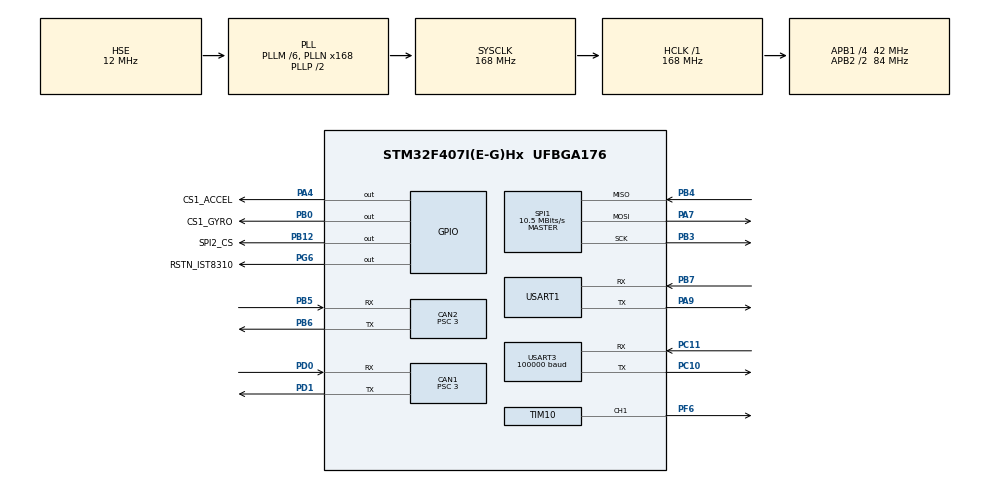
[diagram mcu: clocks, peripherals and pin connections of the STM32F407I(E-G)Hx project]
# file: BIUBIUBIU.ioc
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CAN1.BS1=CAN_BS1_11TQ
CAN1.BS2=CAN_BS2_2TQ
CAN1.CalculateBaudRate=1000000
CAN1.CalculateTimeBit=1000
CAN1.CalculateTimeQuantum=71.42857142857143
CAN1.Prescaler=3
CAN2.BS1=CAN_BS1_11TQ
CAN2.BS2=CAN_BS2_2TQ
CAN2.CalculateBaudRate=1000000
CAN2.CalculateTimeBit=1000
CAN2.CalculateTimeQuantum=71.42857142857143
CAN2.Prescaler=3
Dma.Request0=USART1_RX
Dma.Request1=USART3_RX
Dma.USART1_RX.0.Direction=DMA_PERIPH_TO_MEMORY
Dma.USART1_RX.0.FIFOMode=DMA_FIFOMODE_DISABLE
Dma.USART1_RX.0.Instance=DMA2_Stream5
Dma.USART1_RX.0.MemDataAlignment=DMA_MDATAALIGN_BYTE
Dma.USART1_RX.0.MemInc=DMA_MINC_ENABLE
Dma.USART1_RX.0.Mode=DMA_NORMAL
Dma.USART1_RX.0.PeriphDataAlignment=DMA_PDATAALIGN_BYTE
Dma.USART1_RX.0.PeriphInc=DMA_PINC_DISABLE
Dma.USART1_RX.0.Priority=DMA_PRIORITY_HIGH
Dma.USART3_RX.1.Direction=DMA_PERIPH_TO_MEMORY
Dma.USART3_RX.1.FIFOMode=DMA_FIFOMODE_DISABLE
Dma.USART3_RX.1.Instance=DMA1_Stream1
Dma.USART3_RX.1.MemDataAlignment=DMA_MDATAALIGN_BYTE
Dma.USART3_RX.1.MemInc=DMA_MINC_ENABLE
Dma.USART3_RX.1.Mode=DMA_NORMAL
Dma.USART3_RX.1.PeriphDataAlignment=DMA_PDATAALIGN_BYTE
Dma.USART3_RX.1.PeriphInc=DMA_PINC_DISABLE
Dma.USART3_RX.1.Priority=DMA_PRIORITY_LOW
FREERTOS.Tasks01=defaultTask,24,128,StartDefaultTask,Default,NULL,Dynamic,NULL,NULL;Chassis_Task,40,128,StartTask02,As weak,NULL,Dynamic,NULL,NULL;CAN_Rx_Task,32,128,StartTask03,As weak,NULL,Dynamic,NULL,NULL;Init_Task,8,128,StartTask04,As weak,NULL,Dynamic,NULL,NULL
Mcu.Family=STM32F4
Mcu.Name=STM32F407I(E-G)Hx
Mcu.Package=UFBGA176
NVIC.CAN1_RX0_IRQn=true\:5\:0\:false\:false\:true\:true\:true\:true\:true
NVIC.CAN2_RX0_IRQn=true\:5\:0\:false\:false\:true\:true\:true\:true\:true
NVIC.DMA1_Stream1_IRQn=true\:5\:0\:false\:false\:true\:true\:false\:true\:true
NVIC.DMA2_Stream5_IRQn=true\:5\:0\:false\:false\:true\:true\:false\:true\:true
NVIC.PriorityGroup=NVIC_PRIORITYGROUP_4
NVIC.TIM2_IRQn=true\:15\:0\:false\:false\:true\:false\:false\:true\:true
NVIC.TIM6_DAC_IRQn=true\:5\:0\:false\:false\:true\:true\:true\:true\:true
NVIC.TimeBase=TIM2_IRQn
NVIC.TimeBaseIP=TIM2
NVIC.USART1_IRQn=true\:5\:0\:false\:false\:true\:true\:true\:true\:true
NVIC.USART3_IRQn=true\:5\:0\:false\:false\:true\:true\:true\:true\:true
PA13.Mode=Serial_Wire
PA13.Signal=SYS_JTMS-SWDIO
PA14.Mode=Serial_Wire
PA14.Signal=SYS_JTCK-SWCLK
PA4.GPIO_Label=CS1_ACCEL
PA4.GPIO_PuPd=GPIO_PULLUP
PA4.GPIO_Speed=GPIO_SPEED_FREQ_HIGH
PA4.PinState=GPIO_PIN_SET
PA4.Signal=GPIO_Output
PA7.Mode=Full_Duplex_Master
PA7.Signal=SPI1_MOSI
PA9.Mode=Asynchronous
PA9.Signal=USART1_TX
PB0.GPIO_Label=CS1_GYRO
PB0.GPIO_PuPd=GPIO_PULLUP
PB0.GPIO_Speed=GPIO_SPEED_FREQ_HIGH
PB0.PinState=GPIO_PIN_SET
PB0.Signal=GPIO_Output
PB12.GPIO_Label=SPI2_CS
PB12.GPIO_PuPd=GPIO_PULLUP
PB12.GPIO_Speed=GPIO_SPEED_FREQ_MEDIUM
PB12.PinState=GPIO_PIN_SET
PB12.Signal=GPIO_Output
PB3.Mode=Full_Duplex_Master
PB3.Signal=SPI1_SCK
PB4.Mode=Full_Duplex_Master
PB4.Signal=SPI1_MISO
PB5.Mode=CAN_Activate
PB5.Signal=CAN2_RX
PB6.Mode=CAN_Activate
PB6.Signal=CAN2_TX
PB7.Mode=Asynchronous
PB7.Signal=USART1_RX
PC10.Mode=Asynchronous
PC10.Signal=USART3_TX
PC11.Mode=Asynchronous
PC11.Signal=USART3_RX
PD0.Mode=CAN_Activate
PD0.Signal=CAN1_RX
PD1.Mode=CAN_Activate
PD1.Signal=CAN1_TX
PF6.Signal=S_TIM10_CH1
PG6.GPIO_Label=RSTN_IST8310
PG6.GPIO_PuPd=GPIO_PULLUP
PG6.GPIO_Speed=GPIO_SPEED_FREQ_MEDIUM
PG6.PinState=GPIO_PIN_SET
PG6.Signal=GPIO_Output
PH0-OSC_IN.Mode=HSE-External-Oscillator
PH0-OSC_IN.Signal=RCC_OSC_IN
PH1-OSC_OUT.Mode=HSE-External-Oscillator
PH1-OSC_OUT.Signal=RCC_OSC_OUT
ProjectManager.HeapSize=0x200
ProjectManager.StackSize=0x400
ProjectManager.TargetToolchain=CMake
RCC.48MHZClocksFreq_Value=84000000
RCC.AHBFreq_Value=168000000
RCC.APB1CLKDivider=RCC_HCLK_DIV4
RCC.APB1Freq_Value=42000000
RCC.APB1TimFreq_Value=84000000
RCC.APB2CLKDivider=RCC_HCLK_DIV2
RCC.APB2Freq_Value=84000000
RCC.APB2TimFreq_Value=168000000
RCC.CortexFreq_Value=168000000
RCC.HCLKFreq_Value=168000000
RCC.HSE_VALUE=12000000
RCC.HSI_VALUE=16000000
RCC.LSE_VALUE=32768
RCC.PLLM=6
RCC.PLLN=168
RCC.PLLSourceVirtual=RCC_PLLSOURCE_HSE
RCC.SYSCLKFreq_VALUE=168000000
RCC.SYSCLKSource=RCC_SYSCLKSOURCE_PLLCLK
RCC.VCOOutputFreq_Value=336000000
SH.S_TIM10_CH1.0=TIM10_CH1,PWM Generation1 CH1
SPI1.BaudRatePrescaler=SPI_BAUDRATEPRESCALER_8
SPI1.CLKPhase=SPI_PHASE_2EDGE
SPI1.CLKPolarity=SPI_POLARITY_HIGH
SPI1.CalculateBaudRate=10.5 MBits/s
SPI1.Direction=SPI_DIRECTION_2LINES
SPI1.Mode=SPI_MODE_MASTER
SPI1.VirtualType=VM_MASTER
TIM10.Channel=TIM_CHANNEL_1
TIM10.Period=2000-1
TIM10.Prescaler=84-1
TIM6.Period=1000-1
TIM6.Prescaler=84-1
USART1.VirtualMode=VM_ASYNC
USART3.BaudRate=100000
USART3.Parity=PARITY_EVEN
USART3.VirtualMode=VM_ASYNC
USART3.WordLength=WORDLENGTH_9B
VP_FREERTOS_VS_CMSIS_V2.Mode=CMSIS_V2
VP_SYS_VS_tim2.Mode=TIM2
VP_TIM10_VS_ClockSourceINT.Mode=Enable_Timer
VP_TIM6_VS_ClockSourceINT.Mode=Enable_Timer
board=custom

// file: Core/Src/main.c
/* USER CODE BEGIN Header */
/**
  ******************************************************************************
  * @file           : main.c
  * @brief          : Main program body
  ******************************************************************************
  * @attention
  *
  * Copyright (c) 2026 STMicroelectronics.
  * All rights reserved.
  *
  * This software is licensed under terms that can be found in the LICENSE file
  * in the root directory of this software component.
  * If no LICENSE file comes with this software, it is provided AS-IS.
  *
  ******************************************************************************
  */
/* USER CODE END Header */
#include "main.h"
#include "cmsis_os.h"
#include "can.h"
#include "dma.h"
#include "spi.h"
#include "tim.h"
#include "usart.h"
#include "gpio.h"

void SystemClock_Config(void);
void MX_FREERTOS_Init(void);

int main(void)
{

  /* MCU Configuration--------------------------------------------------------*/

  /* Reset of all peripherals, Initializes the Flash interface and the Systick. */
  HAL_Init();

  /* Configure the system clock */
  SystemClock_Config();

  /* Initialize all configured peripherals */
  MX_GPIO_Init();
  MX_DMA_Init();
  MX_CAN1_Init();
  MX_CAN2_Init();
  MX_SPI1_Init();
  MX_TIM6_Init();
  MX_USART1_UART_Init();
  MX_TIM10_Init();
  MX_USART3_UART_Init();

  /* Init scheduler */
  osKernelInitialize();  /* Call init function for freertos objects (in cmsis_os2.c) */
  MX_FREERTOS_Init();

  /* Start scheduler */
  osKernelStart();

  /* We should never get here as control is now taken by the scheduler */

  /* Infinite loop */
  while (1)
  {

  }
}

void SystemClock_Config(void)
{
  RCC_OscInitTypeDef RCC_OscInitStruct = {0};
  RCC_ClkInitTypeDef RCC_ClkInitStruct = {0};

  /** Configure the main internal regulator output voltage
  */
  __HAL_RCC_PWR_CLK_ENABLE();
  __HAL_PWR_VOLTAGESCALING_CONFIG(PWR_REGULATOR_VOLTAGE_SCALE1);

  /** Initializes the RCC Oscillators according to the specified parameters
  * in the RCC_OscInitTypeDef structure.
  */
  RCC_OscInitStruct.OscillatorType = RCC_OSCILLATORTYPE_HSE;
  RCC_OscInitStruct.HSEState = RCC_HSE_ON;
  RCC_OscInitStruct.PLL.PLLState = RCC_PLL_ON;
  RCC_OscInitStruct.PLL.PLLSource = RCC_PLLSOURCE_HSE;
  RCC_OscInitStruct.PLL.PLLM = 6;
  RCC_OscInitStruct.PLL.PLLN = 168;
  RCC_OscInitStruct.PLL.PLLP = RCC_PLLP_DIV2;
  RCC_OscInitStruct.PLL.PLLQ = 4;
  if (HAL_RCC_OscConfig(&RCC_OscInitStruct) != HAL_OK)
  {
    Error_Handler();
  }

  /** Initializes the CPU, AHB and APB buses clocks
  */
  RCC_ClkInitStruct.ClockType = RCC_CLOCKTYPE_HCLK|RCC_CLOCKTYPE_SYSCLK
                              |RCC_CLOCKTYPE_PCLK1|RCC_CLOCKTYPE_PCLK2;
  RCC_ClkInitStruct.SYSCLKSource = RCC_SYSCLKSOURCE_PLLCLK;
  RCC_ClkInitStruct.AHBCLKDivider = RCC_SYSCLK_DIV1;
  RCC_ClkInitStruct.APB1CLKDivider = RCC_HCLK_DIV4;
  RCC_ClkInitStruct.APB2CLKDivider = RCC_HCLK_DIV2;

  if (HAL_RCC_ClockConfig(&RCC_ClkInitStruct, FLASH_LATENCY_5) != HAL_OK)
  {
    Error_Handler();
  }
}

void HAL_TIM_PeriodElapsedCallback(TIM_HandleTypeDef *htim)
{
  if (htim->Instance == TIM2)
  {
    HAL_IncTick();
  }
}

void Error_Handler(void)
{
  __disable_irq();
  while (1)
  {
  }
}

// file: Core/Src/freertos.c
/* USER CODE BEGIN Header */
/**
  ******************************************************************************
  * File Name          : freertos.c
  * Description        : Code for freertos applications
  ******************************************************************************
  * @attention
  *
  * Copyright (c) 2026 STMicroelectronics.
  * All rights reserved.
  *
  * This software is licensed under terms that can be found in the LICENSE file
  * in the root directory of this software component.
  * If no LICENSE file comes with this software, it is provided AS-IS.
  *
  ******************************************************************************
  */
/* USER CODE END Header */

#include "FreeRTOS.h"
#include "task.h"
#include "main.h"
#include "cmsis_os.h"

/* USER CODE BEGIN Includes */
#include "config.h"
#include "bsp_can.h"
#include "bsp_rc.h"
#include "drv_motor.h"
#include "drv_steer.h"
#include "task_rc.h"
#include "task_chassis.h"
#include "task_gimbal.h"    /* ★ 云台 + 发射任务 */
/* USER CODE END Includes */

/* USER CODE BEGIN Variables */
/* ★ 云台任务：1kHz，优先级比底盘高（Realtime 48 > High 40）
 *
 *   为什么单独一个任务：
 *     · 底盘以后要加陀螺仪（INS 任务 + 姿态解算），云台隔离出来不会被拖慢
 *     · CAN1 上 pitch/拨弹/摩擦L/摩擦R 共用 0x200 一帧，本任务"算完就发"，
 *       天然同一拍，不需要跨任务传电流
 *
 *   栈 384 字（1536 B）：实测最坏调用链约 400 B（含 CAN 中断嵌套），留足余量。
 *   heap 预算：现有 4 个任务 2560 B + 本任务 1536 B ≈ 4.1 KB，远小于 15 KB。 */
osThreadId_t Gimbal_TaskHandle;
const osThreadAttr_t Gimbal_Task_attributes = {
  .name = "Gimbal_Task",
  .stack_size = 384 * 4,
  .priority = (osPriority_t) osPriorityRealtime,
};
/* USER CODE END Variables */
/* Definitions for defaultTask */
osThreadId_t defaultTaskHandle;
const osThreadAttr_t defaultTask_attributes = {
  .name = "defaultTask",
  .stack_size = 128 * 4,
  .priority = (osPriority_t) osPriorityNormal,
};
/* Definitions for Chassis_Task */
osThreadId_t Chassis_TaskHandle;
const osThreadAttr_t Chassis_Task_attributes = {
  .name = "Chassis_Task",
  .stack_size = 256 * 4,
  .priority = (osPriority_t) osPriorityHigh,
};
/* Definitions for CAN_Rx_Task */
osThreadId_t CAN_Rx_TaskHandle;
const osThreadAttr_t CAN_Rx_Task_attributes = {
  .name = "CAN_Rx_Task",
  .stack_size = 128 * 4,
  .priority = (osPriority_t) osPriorityAboveNormal,
};
/* Definitions for Init_Task */
osThreadId_t Init_TaskHandle;
const osThreadAttr_t Init_Task_attributes = {
  .name = "Init_Task",
  .stack_size = 128 * 4,
  .priority = (osPriority_t) osPriorityRealtime,
};

/* USER CODE BEGIN FunctionPrototypes */
void StartGimbalTask(void *argument);
/* USER CODE END FunctionPrototypes */

void StartDefaultTask(void *argument);
void StartTask02(void *argument);
void StartTask03(void *argument);
void StartTask04(void *argument);

void MX_FREERTOS_Init(void); /* (MISRA C 2004 rule 8.1) */

void MX_FREERTOS_Init(void) {

  /* Create the thread(s) */
  /* creation of defaultTask */
  defaultTaskHandle = osThreadNew(StartDefaultTask, NULL, &defaultTask_attributes);

  /* creation of Chassis_Task */
  Chassis_TaskHandle = osThreadNew(StartTask02, NULL, &Chassis_Task_attributes);

  /* creation of CAN_Rx_Task */
  CAN_Rx_TaskHandle = osThreadNew(StartTask03, NULL, &CAN_Rx_Task_attributes);

  /* creation of Init_Task */
  Init_TaskHandle = osThreadNew(StartTask04, NULL, &Init_Task_attributes);

  /* USER CODE BEGIN RTOS_THREADS */
  /* ★ 云台 + 发射任务（Init_Task 之后创建，但它优先级和 Init 一样，
       实际由 Init 先跑完删掉自己，再轮到它） */
  Gimbal_TaskHandle = osThreadNew(StartGimbalTask, NULL, &Gimbal_Task_attributes);
  /* USER CODE END RTOS_THREADS */

}

void StartDefaultTask(void *argument)
{
  /* USER CODE BEGIN StartDefaultTask */
  /* 10ms 杂活任务：电机掉线检测；以后可以在这里加喂狗 / 心跳灯 / 调试输出 */
  for(;;)
  {
    uint32_t now = HAL_GetTick();
    Motor_CheckOnline(now);
    Steer_CheckOnline(now);
    osDelay(10);
  }
  /* USER CODE END StartDefaultTask */
}

__weak void StartTask02(void *argument)
{
  /* USER CODE BEGIN StartTask02 */
  /* 等 Init_Task 把外设都"点着"了再开始跑 */
  while (g_sys_ready == 0U) {
    osDelay(1);
  }
  Task_Chassis_Loop();          /* 1kHz 死循环，不会返回 */
  /* USER CODE END StartTask02 */
}

__weak void StartTask03(void *argument)
{
  /* USER CODE BEGIN StartTask03 */
  /* CAN 接收已经在中断里做完了（见 bsp_can.c 的 HAL_CAN_RxFifo0MsgPendingCallback），
     这个任务没有存在意义。建议在 CubeMX 里直接删掉；
     这里先让自己挂起，不占 CPU、不占时间片。 */
  vTaskSuspend(NULL);
  /* USER CODE END StartTask03 */
}

__weak void StartTask04(void *argument)
{
  /* USER CODE BEGIN StartTask04 */
  /* ============ 这是全工程的"点火"步骤，顺序不能乱 ============ */
  BSP_CAN_Init();        /* 1. CAN1 + CAN2：过滤器 + Start + 接收中断 */
  Task_RC_Init();        /* 2. USART3：DMA 接收 + 空闲中断 */
  Task_Chassis_Init();   /* 3. 后轮速度环 / 前轮转向位置环 的 PID 参数 */
  Task_Gimbal_Init();    /* 4. 云台 yaw/pitch 的四个环 + 发射机构 */

  g_sys_ready = 1U;      /* 5. 放行其他任务 */
  vTaskDelete(NULL);     /* 6. 初始化做完，自己退出 */
  /* USER CODE END StartTask04 */
}

/* USER CODE BEGIN Application */
/**
  * @brief  云台 + 发射任务
  * @note   优先级 osPriorityRealtime(48) > 底盘 High(40)，
  *         所以每个 1ms 里它先跑：先把 CAN1 那两帧发出去，底盘随后。
  */
void StartGimbalTask(void *argument)
{
  /* 等 Init_Task 把外设都"点着"了再开始跑 */
  while (g_sys_ready == 0U) {
    osDelay(1);
  }
  Task_Gimbal_Loop();           /* 1kHz 死循环，不会返回 */
}
/* USER CODE END Application */
